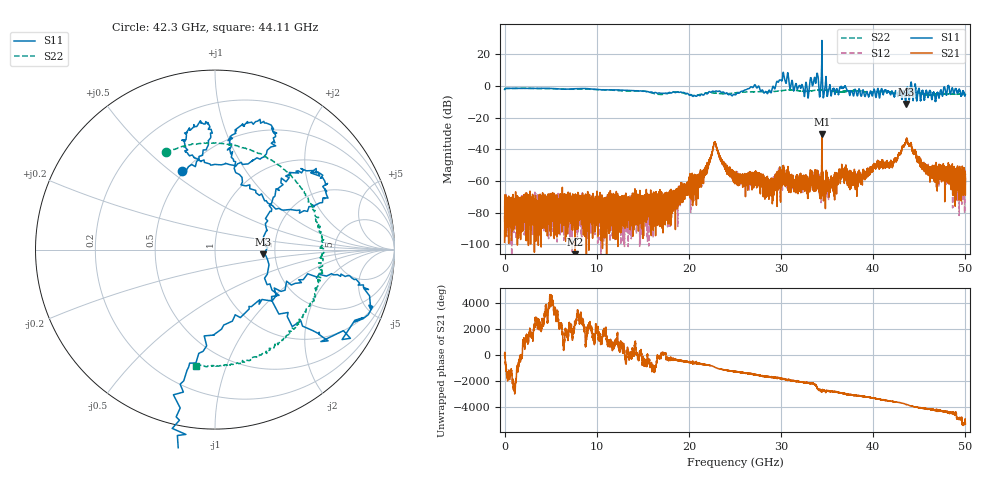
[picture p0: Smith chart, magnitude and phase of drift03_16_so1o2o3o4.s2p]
!Created with skrf (http://scikit-rf.org).
# Hz S RI R 50.0
!freq ReS11 ImS11 ReS21 ImS21 ReS12 ImS12 ReS22 ImS22
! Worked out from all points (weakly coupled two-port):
!   10000 points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, 5.3 MHz to 50 GHz, reference 50 ohm
!   highest |S21| = -30.47 dB at 34.43 GHz (marker M1); lowest = -118.9 dB at 7.66 GHz (marker M2)
!   lowest |S11| = -11.3 dB at 43.53 GHz (marker M3), VSWR 1.75, Z = 86.8 - j5.03 ohm
!   |S11| at or under -10 dB: 43.4947 GHz to 43.54701 GHz (52.32 MHz wide, 0.12 % of centre)
!   |S22| runs from -5.9 to -1.3 dB; largest |S21 - S12| = 0.02
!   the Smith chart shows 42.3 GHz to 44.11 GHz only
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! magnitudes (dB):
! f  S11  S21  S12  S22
! 5.3 MHz  -2.1  -98.7  -82.3  -2.1
! 7.66 GHz  -1.6  -118.9  -76.4  -2.0
! 8.34 GHz  -1.5  -73.0  -76.5  -1.9
! 16.67 GHz  -4.4  -70.4  -73.2  -5.2
! 21.04 GHz  -5.6  -59.4  -59.9  -5.6
! 22 GHz  -4.8  -52.8  -51.5  -4.3
! 22.82 GHz  -3.5  -35.5  -35.2  -4.5
! 25.01 GHz  -5.5  -56.2  -56.2  -4.2
! 27.02 GHz  -0.4  -64.3  -55.5  -3.5
! 28.72 GHz  -2.5  -65.9  -65.5  -3.6
! 30.14 GHz  4.4  -59.4  -57.7  -2.8
! 32.74 GHz  2.0  -58.5  -58.4  -3.3
! 33.34 GHz  2.6  -57.6  -59.6  -2.9
! 33.82 GHz  3.9  -62.6  -58.3  -2.6
! 34.43 GHz  28.9  -30.5  -32.4  -2.3
! 34.95 GHz  -1.4  -55.8  -60.0  -2.4
! 36.82 GHz  -0.7  -53.9  -56.4  -3.4
! 38.47 GHz  -1.7  -59.3  -56.7  -3.0
! 41.67 GHz  -3.3  -49.9  -50.1  -3.7
! 43.53 GHz  -11.3  -35.6  -35.3  -4.2
! 46.33 GHz  -7.7  -52.2  -55.8  -5.5
! 50 GHz  -5.3  -57.6  -55.3  -5.0
